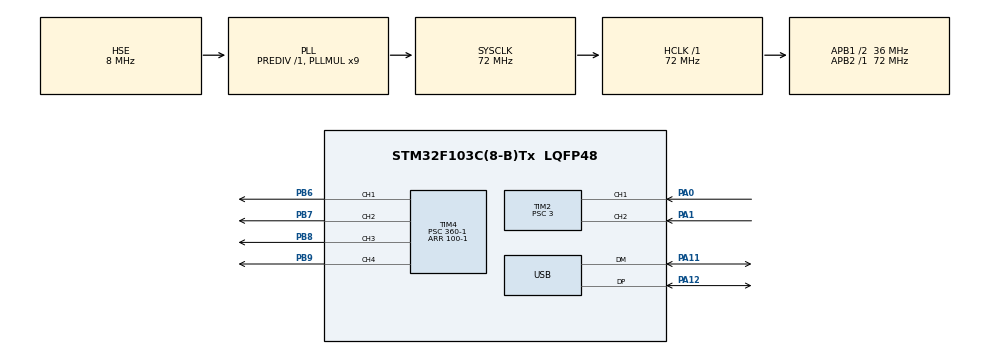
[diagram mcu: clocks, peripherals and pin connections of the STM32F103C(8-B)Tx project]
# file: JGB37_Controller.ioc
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Mcu.Family=STM32F1
Mcu.Name=STM32F103C(8-B)Tx
Mcu.Package=LQFP48
NVIC.PriorityGroup=NVIC_PRIORITYGROUP_4
NVIC.TIM3_IRQn=true\:0\:0\:false\:false\:true\:true\:true\:true
NVIC.USB_LP_CAN1_RX0_IRQn=true\:0\:0\:false\:false\:true\:true\:true\:true
PA0-WKUP.Signal=S_TIM2_CH1_ETR
PA1.Signal=S_TIM2_CH2
PA11.Mode=Device
PA11.Signal=USB_DM
PA12.Mode=Device
PA12.Signal=USB_DP
PA13.Mode=Serial_Wire
PA13.Signal=SYS_JTMS-SWDIO
PA14.Mode=Serial_Wire
PA14.Signal=SYS_JTCK-SWCLK
PB6.Signal=S_TIM4_CH1
PB7.Signal=S_TIM4_CH2
PB8.Signal=S_TIM4_CH3
PB9.Signal=S_TIM4_CH4
PD0-OSC_IN.Mode=HSE-External-Oscillator
PD0-OSC_IN.Signal=RCC_OSC_IN
PD1-OSC_OUT.Mode=HSE-External-Oscillator
PD1-OSC_OUT.Signal=RCC_OSC_OUT
ProjectManager.HeapSize=0x200
ProjectManager.StackSize=0x400
ProjectManager.TargetToolchain=STM32CubeIDE
RCC.AHBFreq_Value=72000000
RCC.APB1CLKDivider=RCC_HCLK_DIV2
RCC.APB1Freq_Value=36000000
RCC.APB1TimFreq_Value=72000000
RCC.APB2Freq_Value=72000000
RCC.APB2TimFreq_Value=72000000
RCC.HCLKFreq_Value=72000000
RCC.PLLMUL=RCC_PLL_MUL9
RCC.PLLSourceVirtual=RCC_PLLSOURCE_HSE
RCC.SYSCLKFreq_VALUE=72000000
RCC.SYSCLKSource=RCC_SYSCLKSOURCE_PLLCLK
RCC.USBFreq_Value=48000000
RCC.USBPrescaler=RCC_USBCLKSOURCE_PLL_DIV1_5
SH.S_TIM2_CH1_ETR.0=TIM2_CH1,Encoder_Interface
SH.S_TIM2_CH2.0=TIM2_CH2,Encoder_Interface
SH.S_TIM4_CH1.0=TIM4_CH1,PWM Generation1 CH1
SH.S_TIM4_CH2.0=TIM4_CH2,PWM Generation2 CH2
SH.S_TIM4_CH3.0=TIM4_CH3,PWM Generation3 CH3
SH.S_TIM4_CH4.0=TIM4_CH4,Forced Output4 CH4
TIM2.AutoReloadPreload=TIM_AUTORELOAD_PRELOAD_ENABLE
TIM2.EncoderMode=TIM_ENCODERMODE_TI12
TIM2.Prescaler=3
TIM3.AutoReloadPreload=TIM_AUTORELOAD_PRELOAD_ENABLE
TIM3.Period=2400-1
TIM3.Prescaler=1000-1
TIM4.AutoReloadPreload=TIM_AUTORELOAD_PRELOAD_DISABLE
TIM4.Channel-Forced\ Output4\ CH4=TIM_CHANNEL_4
TIM4.Channel-PWM\ Generation1\ CH1=TIM_CHANNEL_1
TIM4.Channel-PWM\ Generation2\ CH2=TIM_CHANNEL_2
TIM4.Channel-PWM\ Generation3\ CH3=TIM_CHANNEL_3
TIM4.Period=100-1
TIM4.Prescaler=360-1
USB_DEVICE.CLASS_NAME_FS=CDC
USB_DEVICE.VirtualMode=Cdc
USB_DEVICE.VirtualModeFS=Cdc_FS
VP_TIM3_VS_ClockSourceINT.Mode=Internal
VP_TIM4_VS_ClockSourceINT.Mode=Internal
VP_USB_DEVICE_VS_USB_DEVICE_CDC_FS.Mode=CDC_FS
board=custom

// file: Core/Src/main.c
/* USER CODE BEGIN Header */
/**
  ******************************************************************************
  * @file           : main.c
  * @brief          : Main program body
  ******************************************************************************
  * @attention
  *
  * Copyright (c) 2024 STMicroelectronics.
  * All rights reserved.
  *
  * This software is licensed under terms that can be found in the LICENSE file
  * in the root directory of this software component.
  * If no LICENSE file comes with this software, it is provided AS-IS.
  *
  ******************************************************************************
  */
/* USER CODE END Header */
#include "main.h"
#include "usb_device.h"

/* USER CODE BEGIN Includes */
#include "encoder.h"
#include "motor_driver.h"
#include "motor_controller.h"
/* USER CODE END Includes */

TIM_HandleTypeDef htim2;
TIM_HandleTypeDef htim3;
TIM_HandleTypeDef htim4;

void SystemClock_Config(void);
static void MX_GPIO_Init(void);
static void MX_TIM2_Init(void);
static void MX_TIM3_Init(void);
static void MX_TIM4_Init(void);

int main(void)
{

  /* MCU Configuration--------------------------------------------------------*/

  /* Reset of all peripherals, Initializes the Flash interface and the Systick. */
  HAL_Init();

  /* Configure the system clock */
  SystemClock_Config();

  /* Initialize all configured peripherals */
  MX_GPIO_Init();
  MX_TIM2_Init();
  MX_TIM3_Init();
  MX_TIM4_Init();
  MX_USB_DEVICE_Init();
  /* USER CODE BEGIN 2 */
  //init left wheel
  motor_init(&pid_loop_left.motor, &htim4, &TIM4->CCR1, &TIM4->CCR2, TIM_CHANNEL_1, TIM_CHANNEL_2);
  encoder_init(&pid_loop_left.encoder, &htim2);
  pid_loop_init(&pid_loop_left);
  pid_loop_set_speed(&pid_loop_left, 0);

  //init right wheel
  motor_init(&pid_loop_right.motor, &htim4, &TIM4->CCR3, &TIM4->CCR4, TIM_CHANNEL_3, TIM_CHANNEL_4);
  encoder_init(&pid_loop_right.encoder, &htim2);
  pid_loop_init(&pid_loop_right);
  pid_loop_set_speed(&pid_loop_right, 0);

  HAL_TIM_Base_Start_IT(&htim3);
  /* USER CODE END 2 */

  /* Infinite loop */
  while (1)
  {

  }
}

void SystemClock_Config(void)
{
  RCC_OscInitTypeDef RCC_OscInitStruct = {0};
  RCC_ClkInitTypeDef RCC_ClkInitStruct = {0};
  RCC_PeriphCLKInitTypeDef PeriphClkInit = {0};

  /** Initializes the RCC Oscillators according to the specified parameters
  * in the RCC_OscInitTypeDef structure.
  */
  RCC_OscInitStruct.OscillatorType = RCC_OSCILLATORTYPE_HSE;
  RCC_OscInitStruct.HSEState = RCC_HSE_ON;
  RCC_OscInitStruct.HSEPredivValue = RCC_HSE_PREDIV_DIV1;
  RCC_OscInitStruct.HSIState = RCC_HSI_ON;
  RCC_OscInitStruct.PLL.PLLState = RCC_PLL_ON;
  RCC_OscInitStruct.PLL.PLLSource = RCC_PLLSOURCE_HSE;
  RCC_OscInitStruct.PLL.PLLMUL = RCC_PLL_MUL9;
  if (HAL_RCC_OscConfig(&RCC_OscInitStruct) != HAL_OK)
  {
    Error_Handler();
  }

  /** Initializes the CPU, AHB and APB buses clocks
  */
  RCC_ClkInitStruct.ClockType = RCC_CLOCKTYPE_HCLK|RCC_CLOCKTYPE_SYSCLK
                              |RCC_CLOCKTYPE_PCLK1|RCC_CLOCKTYPE_PCLK2;
  RCC_ClkInitStruct.SYSCLKSource = RCC_SYSCLKSOURCE_PLLCLK;
  RCC_ClkInitStruct.AHBCLKDivider = RCC_SYSCLK_DIV1;
  RCC_ClkInitStruct.APB1CLKDivider = RCC_HCLK_DIV2;
  RCC_ClkInitStruct.APB2CLKDivider = RCC_HCLK_DIV1;

  if (HAL_RCC_ClockConfig(&RCC_ClkInitStruct, FLASH_LATENCY_2) != HAL_OK)
  {
    Error_Handler();
  }
  PeriphClkInit.PeriphClockSelection = RCC_PERIPHCLK_USB;
  PeriphClkInit.UsbClockSelection = RCC_USBCLKSOURCE_PLL_DIV1_5;
  if (HAL_RCCEx_PeriphCLKConfig(&PeriphClkInit) != HAL_OK)
  {
    Error_Handler();
  }
}

static void MX_TIM2_Init(void)
{

  TIM_Encoder_InitTypeDef sConfig = {0};
  TIM_MasterConfigTypeDef sMasterConfig = {0};

  htim2.Instance = TIM2;
  htim2.Init.Prescaler = 3;
  htim2.Init.CounterMode = TIM_COUNTERMODE_UP;
  htim2.Init.Period = 65535;
  htim2.Init.ClockDivision = TIM_CLOCKDIVISION_DIV1;
  htim2.Init.AutoReloadPreload = TIM_AUTORELOAD_PRELOAD_ENABLE;
  sConfig.EncoderMode = TIM_ENCODERMODE_TI12;
  sConfig.IC1Polarity = TIM_ICPOLARITY_RISING;
  sConfig.IC1Selection = TIM_ICSELECTION_DIRECTTI;
  sConfig.IC1Prescaler = TIM_ICPSC_DIV1;
  sConfig.IC1Filter = 0;
  sConfig.IC2Polarity = TIM_ICPOLARITY_RISING;
  sConfig.IC2Selection = TIM_ICSELECTION_DIRECTTI;
  sConfig.IC2Prescaler = TIM_ICPSC_DIV1;
  sConfig.IC2Filter = 0;
  if (HAL_TIM_Encoder_Init(&htim2, &sConfig) != HAL_OK)
  {
    Error_Handler();
  }
  sMasterConfig.MasterOutputTrigger = TIM_TRGO_RESET;
  sMasterConfig.MasterSlaveMode = TIM_MASTERSLAVEMODE_DISABLE;
  if (HAL_TIMEx_MasterConfigSynchronization(&htim2, &sMasterConfig) != HAL_OK)
  {
    Error_Handler();
  }

}

static void MX_TIM3_Init(void)
{

  TIM_ClockConfigTypeDef sClockSourceConfig = {0};
  TIM_MasterConfigTypeDef sMasterConfig = {0};

  htim3.Instance = TIM3;
  htim3.Init.Prescaler = 1000-1;
  htim3.Init.CounterMode = TIM_COUNTERMODE_UP;
  htim3.Init.Period = 2400-1;
  htim3.Init.ClockDivision = TIM_CLOCKDIVISION_DIV1;
  htim3.Init.AutoReloadPreload = TIM_AUTORELOAD_PRELOAD_ENABLE;
  if (HAL_TIM_Base_Init(&htim3) != HAL_OK)
  {
    Error_Handler();
  }
  sClockSourceConfig.ClockSource = TIM_CLOCKSOURCE_INTERNAL;
  if (HAL_TIM_ConfigClockSource(&htim3, &sClockSourceConfig) != HAL_OK)
  {
    Error_Handler();
  }
  sMasterConfig.MasterOutputTrigger = TIM_TRGO_RESET;
  sMasterConfig.MasterSlaveMode = TIM_MASTERSLAVEMODE_DISABLE;
  if (HAL_TIMEx_MasterConfigSynchronization(&htim3, &sMasterConfig) != HAL_OK)
  {
    Error_Handler();
  }

}

static void MX_TIM4_Init(void)
{

  TIM_ClockConfigTypeDef sClockSourceConfig = {0};
  TIM_MasterConfigTypeDef sMasterConfig = {0};
  TIM_OC_InitTypeDef sConfigOC = {0};

  htim4.Instance = TIM4;
  htim4.Init.Prescaler = 360-1;
  htim4.Init.CounterMode = TIM_COUNTERMODE_UP;
  htim4.Init.Period = 100-1;
  htim4.Init.ClockDivision = TIM_CLOCKDIVISION_DIV1;
  htim4.Init.AutoReloadPreload = TIM_AUTORELOAD_PRELOAD_DISABLE;
  if (HAL_TIM_Base_Init(&htim4) != HAL_OK)
  {
    Error_Handler();
  }
  sClockSourceConfig.ClockSource = TIM_CLOCKSOURCE_INTERNAL;
  if (HAL_TIM_ConfigClockSource(&htim4, &sClockSourceConfig) != HAL_OK)
  {
    Error_Handler();
  }
  if (HAL_TIM_PWM_Init(&htim4) != HAL_OK)
  {
    Error_Handler();
  }
  if (HAL_TIM_OC_Init(&htim4) != HAL_OK)
  {
    Error_Handler();
  }
  sMasterConfig.MasterOutputTrigger = TIM_TRGO_RESET;
  sMasterConfig.MasterSlaveMode = TIM_MASTERSLAVEMODE_DISABLE;
  if (HAL_TIMEx_MasterConfigSynchronization(&htim4, &sMasterConfig) != HAL_OK)
  {
    Error_Handler();
  }
  sConfigOC.OCMode = TIM_OCMODE_PWM1;
  sConfigOC.Pulse = 0;
  sConfigOC.OCPolarity = TIM_OCPOLARITY_HIGH;
  sConfigOC.OCFastMode = TIM_OCFAST_DISABLE;
  if (HAL_TIM_PWM_ConfigChannel(&htim4, &sConfigOC, TIM_CHANNEL_1) != HAL_OK)
  {
    Error_Handler();
  }
  if (HAL_TIM_PWM_ConfigChannel(&htim4, &sConfigOC, TIM_CHANNEL_2) != HAL_OK)
  {
    Error_Handler();
  }
  if (HAL_TIM_PWM_ConfigChannel(&htim4, &sConfigOC, TIM_CHANNEL_3) != HAL_OK)
  {
    Error_Handler();
  }
  sConfigOC.OCMode = TIM_OCMODE_FORCED_ACTIVE;
  if (HAL_TIM_OC_ConfigChannel(&htim4, &sConfigOC, TIM_CHANNEL_4) != HAL_OK)
  {
    Error_Handler();
  }
  HAL_TIM_MspPostInit(&htim4);

}

static void MX_GPIO_Init(void)
{

  /* GPIO Ports Clock Enable */
  __HAL_RCC_GPIOD_CLK_ENABLE();
  __HAL_RCC_GPIOA_CLK_ENABLE();
  __HAL_RCC_GPIOB_CLK_ENABLE();

}

/* USER CODE BEGIN 4 */
void HAL_TIM_PeriodElapsedCallback(TIM_HandleTypeDef* htim)
{
	//handle interrupt for left wheel
	encoder_interrupt_handler(&pid_loop_left.encoder);
	pid_loop_handler(&pid_loop_left);

	//handle interrupt for right wheel
	encoder_interrupt_handler(&pid_loop_right.encoder);
	pid_loop_handler(&pid_loop_right);
}
/* USER CODE END 4 */

void Error_Handler(void)
{
  __disable_irq();
  while (1)
  {
  }
}
